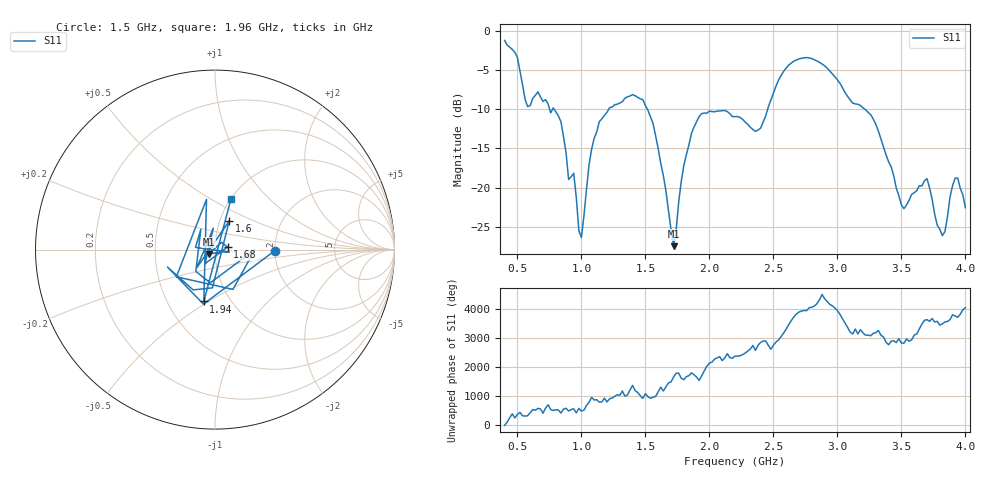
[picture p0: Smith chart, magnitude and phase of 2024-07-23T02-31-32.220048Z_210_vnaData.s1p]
!Created with skrf (http://scikit-rf.org).
# Hz S RI R 50.0
!freq ReS11 ImS11
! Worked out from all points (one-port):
!   181 points, 400 MHz to 4 GHz, reference 50 ohm
!   lowest |S11| = -27.5 dB at 1.72 GHz (marker M1), VSWR 1.09, Z = 46.6 - j2.26 ohm
!   |S11| at or under -10 dB: 786.1 MHz to 1.214 GHz (427.7 MHz wide, 42.8 % of centre); 1.515 GHz to 2.455 GHz (940.5 MHz wide, 47.4 % of centre); 3.214 GHz to end of sweep (the widest 3 of 4)
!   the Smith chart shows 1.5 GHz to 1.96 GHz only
!   S11 on the Smith chart (normalised r, x): 1.5 GHz: 2.00, -0.03; 1.6 GHz: 1.11, +0.36; 1.68 GHz: 1.15, +0.03; 1.94 GHz: 0.75, -0.48; 1.96 GHz: 1.00, +0.63
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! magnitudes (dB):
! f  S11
! 400 MHz  -1.3
! 500 MHz  -3.4
! 580 MHz  -9.7
! 660 MHz  -7.8
! 860 MHz  -13.5
! 900 MHz  -19.0
! 940 MHz  -18.2
! 1 GHz  -26.4
! 1.1 GHz  -13.7
! 1.3 GHz  -9.2
! 1.5 GHz  -9.6
! 1.6 GHz  -15.0
! 1.68 GHz  -22.9
! 1.72 GHz  -27.5
! 1.76 GHz  -21.9
! 1.94 GHz  -10.6
! 1.96 GHz  -10.5
! 2.2 GHz  -11.0
! 2.4 GHz  -12.4
! 2.66 GHz  -3.9
! 3.1 GHz  -8.8
! 3.28 GHz  -11.3
! 3.5 GHz  -22.2
! 3.56 GHz  -21.6
! 3.7 GHz  -18.9
! 3.82 GHz  -26.1
! 3.92 GHz  -18.8
! 4 GHz  -22.5
